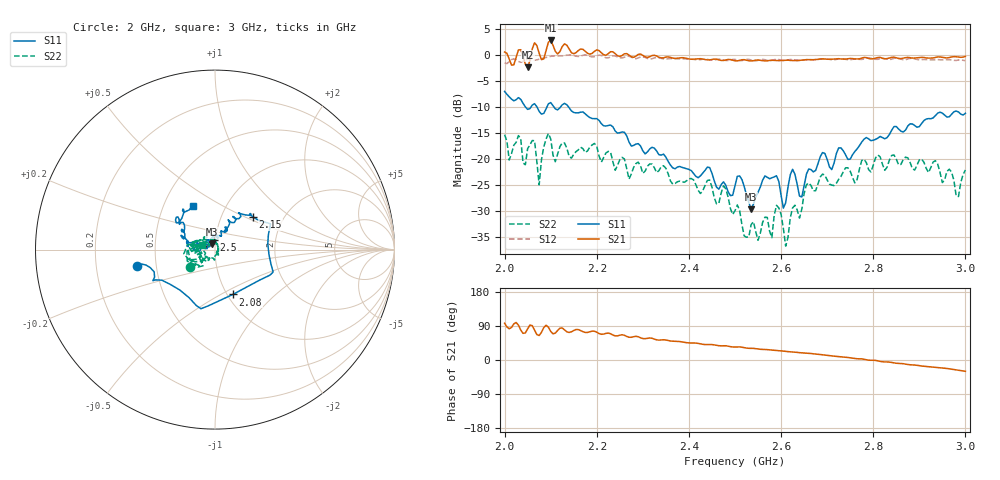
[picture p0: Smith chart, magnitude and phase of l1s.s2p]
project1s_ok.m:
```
function [er, pTan]=project1s_ok(f,S11,S21,l,h,W)
l1Data = load('l1s.s2p','-ascii')
disp('Calculo de parametros MICROSTRIP GRUPO 5')
%
%f=input('Ingrese la frecuencia de operacion (GHz) =')
%disp('')
%f=2:0.005:3;
%f=f.*(10.^9);
f=l1Data(:,1);
%S11=input('Ingrese el valor de S11 = ')
%disp('')
%
%S21=input('Ingrese el valor de S21 = ')
%disp('')

%l=input('Ingrese la longitud (cm)= ')
%disp('')
l=3.1491;
l=(l/100);
%h=input('Ingrese la altura del substrato (mm) = ')
h=1.6;
h=(h/1000);
%disp('')

%W=input('Ingrese el ancho W (cm) =')
W=0.3638;
W=(W/100);
%disp('')
%%%%%%%%%%%%%%%%%%%%%%%%%%%%%%%%%%%%% constantes
c=3*(10^8);
u0=4*pi*(10^(-7));
e0=8.85*(10^(-12));
%%%%%%%%%%%%%%%%%%%%%%%%%%%%%%      A
%l1Data = load('l1.s2p','-ascii')
S11=l1Data(:,2); 
figure(1)
plot(f,S11)
xlabel('frecuencia Hz')
ylabel('Parte real S11 (dB)')

S21=l1Data(:,4);
figure(2)
plot(f,S21)
xlabel('frecuencia Hz')
ylabel('Parte real S21 (dB)')

disp('parametro A:')
Afar=( (S11.^2).+(2.*S11).-(S21.^2).+1 );  
Afab=( (-1.*(S11.^2)).+(2.*S11).+(S21.^2).-1 );
A=(-1.*(Afar./Afab)).^(1/2);
figure(3)
plot(f,real(A))
xlabel('frecuencia Hz')
ylabel('Parte real parametro A')

%
Zr=50;
disp('impedancia  Zo:')
Zo=Zr.*A;
figure(4)
plot(f,real(Zo))
xlabel('frecuencia Hz')
ylabel('Parte real de Zo')
Zo=mean(Zo)
%%%%%%%%%%%%%%%%%  gamma
disp('Gamma:')
Gamma=((log((S21).*((A./2).+(1./2)).-(((S11.-1).*(S11.+S11.*A.-A.+1))./(2.*S21))))./-l);
%figure(5)
%plot(f,real(Gamma))
%xlabel('frecuencia Hz')
%ylabel('Parte real de Gamma')

%cduc=5.8*10^(-7);
%Rs=sqrt( (2*pi*f*u0)/(2*cduc));
%Zoa=1;
%alfa_c=( Rs./(Zoa.*W) );
%Gamma=Gamma-alfa_c;

%%%%%%%%%%%%%%%%% permitividad 
disp('Permitividad relativa efectiva:')
ereff= (-1.*((Gamma.^2).*(c.^2))./((2.*pi.*f).^2));

disp('Permitividad relativa:')
M=sqrt(1+(12*h/W));
er=(((2.*ereff).+(M.-1))./(M.+1));
figure(5)
plot(f,abs(er))
xlabel('frecuencia Hz')
ylabel('Parte real de er (permitividad relativa)')
er=mean(er)

disp('Perdidas tangenciales:')
pTan=((imag(er))./(real(er)));
figure(6)
plot(f,real(pTan))
xlabel('frecuencia Hz')
ylabel('Parte real de pTan(perdidas tangenciales)')
pTan=mean(pTan)
%%%%%%%%%%%%%%%%%% permitividad 
%disp('Permitividad relativa:')
%er= (-1*((Gamma^2)*((c)^2))/((2*pi*f)^2))
%%%%%%%%%%%%%%%%%
%disp('Permitividad electrica efectiva:')
%cte=((1+12*(h/W))^(-1/2));
%%%ereff=(((2*er)-1+cte)/(1+cte))
%ereff= ((er+1)/2)+(((er-1)/2)* ( (1+10*(h/W))^(-0.5) ))
%%%%%%%%%%%%%%%%%%%%%%
%disp('Perdidas tangenciales:')
%pTan=((imag(er))/(real(er)))
%
%%%% calculo de la impedancia caracteristica
%disp('Impedancia caracteristica:')
%zo=(120*pi) / (  (ereff^0.5)*( (W/h)+1.393+0.667*(log ((W/h) + 1.444 ) ) ) )
%%%%%%%%%%%%%


%%%%%%%%%%%%%%%%%%%%%%%%%%%%%%%%%%%%% calculo de W

%W =(c/(2*f))* ( (2/(er+1))^(1/2) )

%%%%%%%%%%%%%%%%%%%%%%%%%%%%%% calculo de 

%%%%%  calculo de la longitud efectiva
%disp('Longitud Efectiva....')
%Ld=0.412* (  (ereff+0.3)/(ereff-0.258) )* (  ( (W/h)+0.264 ) / ( (W/h) +0.813) )
%disp('Delta Longitud :')
%Ld= Ld/h
%Le=1/ ( 2*f*sqrt(ereff*u0*e0) );
%disp('Longitud :')
%L= Le-(2*Ld)
%
```
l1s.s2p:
# Hz S DB R 50
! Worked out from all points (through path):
!   201 points, 2 GHz to 3 GHz, reference 50 ohm
!   highest |S21| = 2.73 dB at 2.1 GHz (marker M1); lowest = -2.5 dB at 2.05 GHz (marker M2)
!   group delay of S21, straight-line fit = 327 ps
!   lowest |S11| = -29.6 dB at 2.535 GHz (marker M3), VSWR 1.07, Z = 48.5 + j2.87 ohm
!   |S11| at or under -10 dB: 2.045 GHz to 2.058 GHz (12.61 MHz wide, 0.615 % of centre); 2.07 GHz to 2.092 GHz (21.95 MHz wide, 1.05 % of centre); 2.139 GHz to end of sweep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
!   |S22| runs from -36.7 to -15.1 dB; largest |S21 - S12| = 0.56
!   S11 on the Smith chart (normalised r, x): 2 GHz: 0.39, -0.09; 2.08 GHz: 1.06, -0.57; 2.15 GHz: 1.41, +0.56; 2.5 GHz: 0.98, +0.11; 3 GHz: 0.70, +0.37
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2e9  -7.05 -168.4  0.52 97.0  -1.61 103.0  -15.35 -144.6
2.05e9  -10.50 -131.1  -2.45 82.3  -0.92 97.0  -18.01 -135.0
2.065e9  -9.41 -103.4  2.29 78.5  -1.08 92.4  -16.51 -178.3
2.08e9  -11.41 -68.1  -0.95 73.0  -0.75 90.5  -20.16 -139.6
2.1e9  -9.19 -21.1  2.73 75.6  -0.32 87.3  -16.14 169.4
2.15e9  -11.09 40.7  0.19 77.8  -0.14 80.4  -19.11 -179.1
2.5e9  -25.15 97.1  -1.17 34.3  -0.91 34.7  -29.93 73.0
2.535e9  -29.63 116.3  -1.21 30.7  -1.02 30.3  -32.62 48.2
2.61e9  -28.41 144.5  -1.05 22.7  -1.09 22.3  -36.74 -35.6
2.81e9  -16.01 168.4  -0.55 -2.2  -0.89 -3.6  -19.24 -162.0
3e9  -11.26 116.4  -0.33 -29.8  -1.15 -31.7  -22.13 161.4
